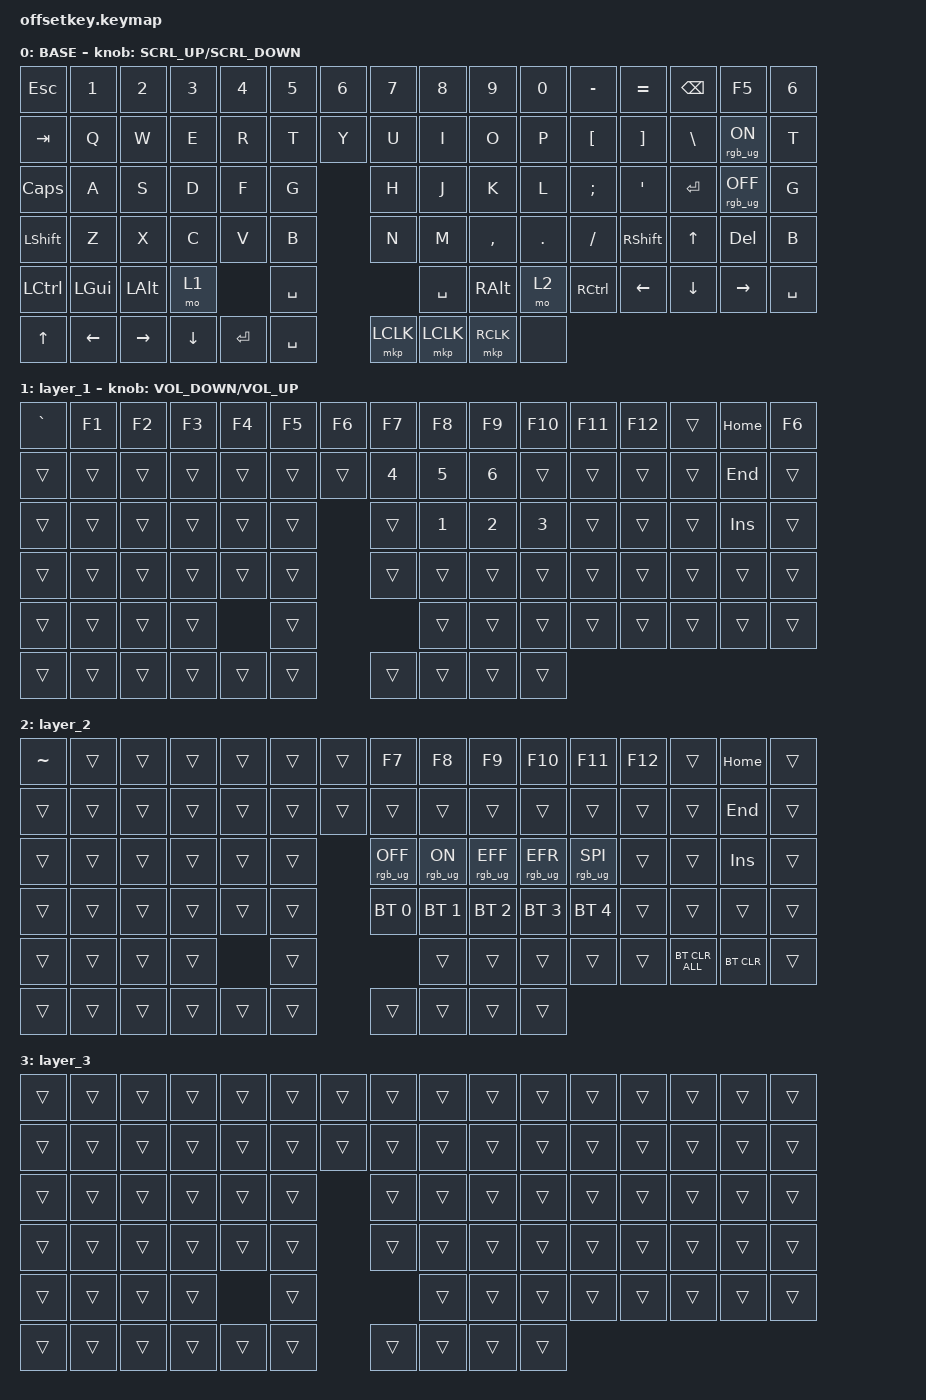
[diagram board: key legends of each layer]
#define BASE 0
#define LOWER 1
#define MOUSE_KEYS 2
#define MOUSE_TP 3
#define MOUSE_TP_SET 4

#define ZMK_POINTING_DEFAULT_SCRL_VAL 50

#include <zephyr/dt-bindings/input/input-event-codes.h>
#include <behaviors/toggle_io.dtsi>
#include <behaviors/on_io.dtsi>
#include <behaviors/off_io.dtsi>
#include <behaviors.dtsi>
#include <behaviors/mouse_keys.dtsi>
#include <dt-bindings/zmk/bt.h>
#include <dt-bindings/zmk/keys.h>
#include <dt-bindings/zmk/pointing.h>
#include <dt-bindings/zmk/mouse.h>
#include <dt-bindings/zmk/rgb.h>

/ {
    behaviors {
        ltq: ltq {
            compatible = "zmk,behavior-hold-tap";
            label = "LTQ";
            bindings = <&mo>, <&kp>;

            #binding-cells = <2>;
            tapping-term-ms = <200>;
            quick-tap-ms = <180>;
        };

        inc_dec_msc: sensor_rotate_msc {
            compatible = "zmk,behavior-sensor-rotate-var";
            #sensor-binding-cells = <2>;
            bindings = <&msc>, <&msc>;
            tap-ms = <50>;
        };
    };

    combos {
        compatible = "zmk,combos";

        flash {
            bindings = <&bootloader>;
            key-positions = <0 11>;
        };
    };

    keymap {
        compatible = "zmk,keymap";

        BASE {
            bindings = <
&kp ESC       &kp N1          &kp N2           &kp N3          &kp N4     &kp N5     &kp N6      &kp N7     &kp N8     &kp N9         &kp N0   &kp MINUS  &kp EQUAL  &kp BSPC      &kp F5                           &kp NUMBER_6
&kp TAB       &kp Q           &kp W            &kp E           &kp R      &kp T                  &kp Y      &kp U      &kp I          &kp O    &kp P      &kp LBKT   &kp RBKT      &kp BSLH         &rgb_ug RGB_ON  &kp T
&kp CAPS      &kp A           &kp S            &kp D           &kp F      &kp G                  &kp H      &kp J      &kp K          &kp L    &kp SEMI   &kp APOS   &kp ENTER     &rgb_ug RGB_OFF                  &kp G
&kp LSHFT     &kp Z           &kp X            &kp C           &kp V      &kp B                  &kp N      &kp M      &kp COMMA      &kp DOT  &kp FSLH   &kp RSHFT  &kp UP_ARROW  &kp DELETE                       &kp B
&kp LCTRL     &kp LEFT_GUI    &kp LEFT_ALT     &mo 1                      &kp SPACE                         &kp SPACE  &kp RIGHT_ALT  &mo 2    &kp RCTRL  &kp LEFT   &kp DOWN      &kp RIGHT                        &kp SPACE
&kp UP_ARROW  &kp LEFT_ARROW  &kp RIGHT_ARROW  &kp DOWN_ARROW  &kp ENTER  &kp SPACE              &mkp LCLK  &mkp LCLK  &mkp RCLK      &none
            >;

            label = "BASE";
            sensor-bindings = <&inc_dec_msc SCRL_UP SCRL_DOWN>;
        };

        layer_1 {
            bindings = <
&kp GRAVE  &kp F1  &kp F2  &kp F3  &kp F4  &kp F5  &kp F6      &kp F7  &kp F8        &kp F9        &kp F10       &kp F11  &kp F12  &trans  &kp HOME             &kp F6
&trans     &trans  &trans  &trans  &trans  &trans              &trans  &kp NUMBER_4  &kp NUMBER_5  &kp NUMBER_6  &trans   &trans   &trans  &trans      &kp END  &trans
&trans     &trans  &trans  &trans  &trans  &trans              &trans  &kp NUMBER_1  &kp NUMBER_2  &kp NUMBER_3  &trans   &trans   &trans  &kp INSERT           &trans
&trans     &trans  &trans  &trans  &trans  &trans              &trans  &trans        &trans        &trans        &trans   &trans   &trans  &trans               &trans
&trans     &trans  &trans  &trans          &trans                      &trans        &trans        &trans        &trans   &trans   &trans  &trans               &trans
&trans     &trans  &trans  &trans  &trans  &trans              &trans  &trans        &trans        &trans
            >;
            sensor-bindings = <&inc_dec_kp C_VOLUME_DOWN C_VOLUME_UP>;
        };

        layer_2 {
            bindings = <
&kp TILDE  &trans  &trans  &trans  &trans  &trans  &trans      &kp F7           &kp F8          &kp F9           &kp F10          &kp F11          &kp F12  &trans          &kp HOME             &trans
&trans     &trans  &trans  &trans  &trans  &trans              &trans           &trans          &trans           &trans           &trans           &trans   &trans          &trans      &kp END  &trans
&trans     &trans  &trans  &trans  &trans  &trans              &rgb_ug RGB_OFF  &rgb_ug RGB_ON  &rgb_ug RGB_EFF  &rgb_ug RGB_EFR  &rgb_ug RGB_SPI  &trans   &trans          &kp INSERT           &trans
&trans     &trans  &trans  &trans  &trans  &trans              &bt BT_SEL 0     &bt BT_SEL 1    &bt BT_SEL 2     &bt BT_SEL 3     &bt BT_SEL 4     &trans   &trans          &trans               &trans
&trans     &trans  &trans  &trans          &trans                               &trans          &trans           &trans           &trans           &trans   &bt BT_CLR_ALL  &bt BT_CLR           &trans
&trans     &trans  &trans  &trans  &trans  &trans              &trans           &trans          &trans           &trans
            >;
        };

        layer_3 {
            bindings = <
&trans  &trans  &trans  &trans  &trans  &trans  &trans      &trans  &trans  &trans  &trans  &trans  &trans  &trans  &trans          &trans
&trans  &trans  &trans  &trans  &trans  &trans              &trans  &trans  &trans  &trans  &trans  &trans  &trans  &trans  &trans  &trans
&trans  &trans  &trans  &trans  &trans  &trans              &trans  &trans  &trans  &trans  &trans  &trans  &trans  &trans          &trans
&trans  &trans  &trans  &trans  &trans  &trans              &trans  &trans  &trans  &trans  &trans  &trans  &trans  &trans          &trans
&trans  &trans  &trans  &trans          &trans                      &trans  &trans  &trans  &trans  &trans  &trans  &trans          &trans
&trans  &trans  &trans  &trans  &trans  &trans              &trans  &trans  &trans  &trans
            >;
        };
    };
};

&msc {
    time-to-max-speed-ms = <100>;
};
